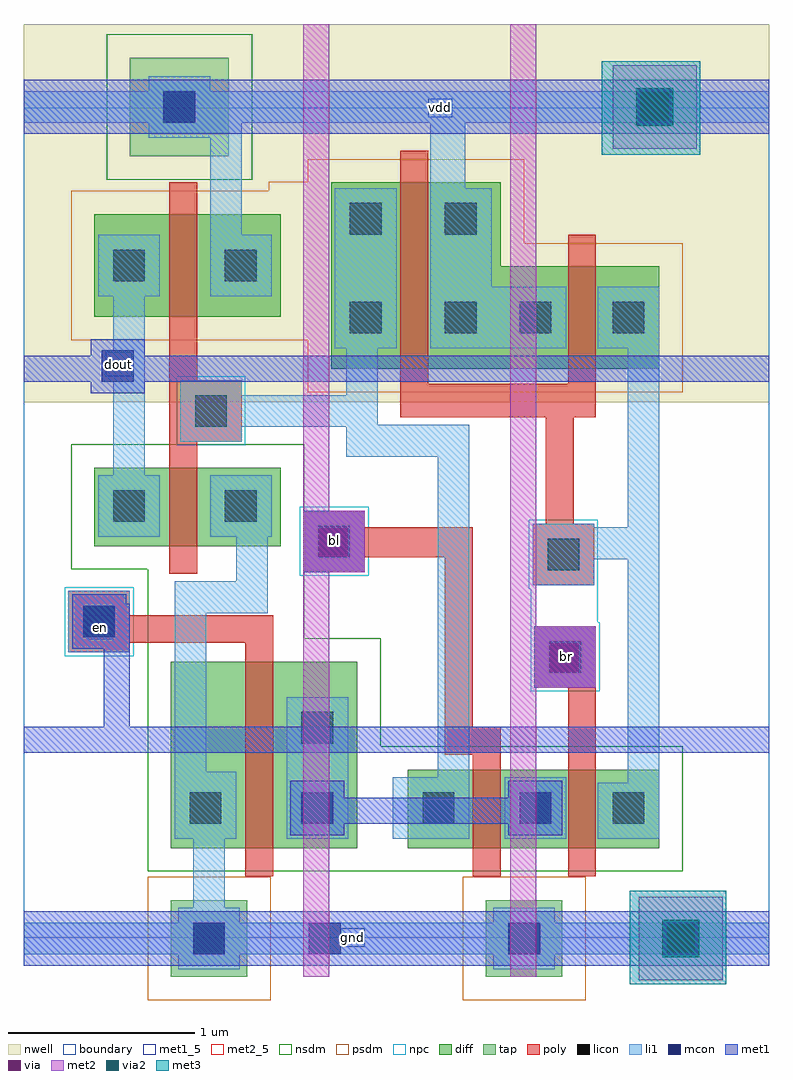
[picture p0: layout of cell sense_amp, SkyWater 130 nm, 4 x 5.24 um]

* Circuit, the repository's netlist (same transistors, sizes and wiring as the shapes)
* NGSPICE file created from sense_amp.ext - technology: sky130A

.subckt sense_amp bl br dout en vdd gnd
X0 a_47_208# bl a_8_72# gnd sky130_fd_pr__nfet_01v8 ad=1.428e+11p pd=1.52e+06u as=6.012e+11p ps=4.46e+06u w=420000u l=150000u
X1 a_47_208# a_152_291# vdd vdd sky130_fd_pr__pfet_01v8 ad=3.7e+11p pd=2.74e+06u as=8.355e+11p ps=5.5e+06u w=1e+06u l=150000u
X2 vdd a_152_291# a_152_291# vdd sky130_fd_pr__pfet_01v8 ad=0p pd=0u as=1.87e+11p ps=1.78e+06u w=550000u l=150000u
X3 vdd a_47_208# dout vdd sky130_fd_pr__pfet_01v8 ad=0p pd=0u as=2.2e+11p ps=1.9e+06u w=550000u l=150000u
X4 gnd a_47_208# dout gnd sky130_fd_pr__nfet_01v8 ad=5.89e+11p pd=4.54e+06u as=1.68e+11p ps=1.64e+06u w=420000u l=150000u
X5 gnd en a_8_72# gnd sky130_fd_pr__nfet_01v8 ad=0p pd=0u as=0p ps=0u w=1e+06u l=150000u
X6 a_8_72# br a_152_291# gnd sky130_fd_pr__nfet_01v8 ad=0p pd=0u as=1.47e+11p ps=1.54e+06u w=420000u l=150000u
.ends

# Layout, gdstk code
import gdstk
lib = gdstk.Library(unit=1e-6, precision=1e-09)
def R(c, l, rs):  # rectangles x0, y0, x1, y1
    for r in rs: c.add(gdstk.rectangle(r[:2], r[2:], *l))
nwell = (64, 20)
diff = (65, 20)
tap = (65, 44)
poly = (66, 20)
licon = (66, 44)
li1 = (67, 20)
mcon = (67, 44)
met1_5 = (68, 5)
met1 = (68, 20)
via = (68, 44)
met2_5 = (69, 5)
met2 = (69, 20)
via2 = (69, 44)
met3 = (70, 20)
nsdm = (93, 44)
psdm = (94, 20)
npc = (95, 20)
boundary = (235, 4)

sense_amp = lib.new_cell('sense_amp')
R(sense_amp, nwell, [(0,2.87,4,4.9)])
R(sense_amp, diff, [(0.79,0.48,1.79,1.48), (2.06,0.48,3.41,0.9), (0.38,2.1,1.38,2.52), (1.65,3.05,3.41,3.6), (0.38,3.33,1.38,3.88), (1.65,3.6,2.56,4.05)])
R(sense_amp, tap, [(0.79,-0.21,1.2,0.2), (2.48,-0.21,2.89,0.2), (0.57,4.19,1.1,4.72)])
R(sense_amp, poly, [(1.19,0.33,1.34,1.58), (2.41,0.33,2.56,0.98), (2.92,0.33,3.07,1.34), (2.26,0.98,2.56,1.13), (2.26,1.13,2.41,2.04), (2.74,1.34,3.07,1.67), (0.24,1.53,0.57,1.58), (0.24,1.58,1.34,1.73), (0.24,1.73,0.57,1.86), (2.73,1.89,3.06,2.22), (0.78,1.95,0.93,2.66), (1.5,1.96,1.83,2.04), (1.5,2.04,2.41,2.2), (1.5,2.2,1.83,2.29), (2.8,2.22,2.95,2.79), (0.78,2.66,1.17,2.99), (2.02,2.79,3.07,2.97), (2.02,2.97,2.17,4.22), (2.92,2.97,3.07,3.77), (0.78,2.99,0.93,4.05)])
R(sense_amp, licon, [(0.91,-0.09,1.08,0.08), (2.6,-0.09,2.77,0.08), (0.89,0.61,1.06,0.78), (1.49,0.61,1.66,0.78), (2.14,0.61,2.31,0.78), (2.66,0.61,2.83,0.78), (3.16,0.61,3.33,0.78), (1.49,1.04,1.66,1.21), (2.82,1.42,2.99,1.59), (0.32,1.61,0.49,1.78), (2.81,1.97,2.98,2.14), (1.58,2.04,1.75,2.21), (0.48,2.23,0.65,2.4), (1.08,2.23,1.25,2.4), (0.92,2.74,1.09,2.91), (1.75,3.24,1.92,3.41), (2.26,3.24,2.43,3.41), (2.66,3.24,2.83,3.41), (3.16,3.24,3.33,3.41), (0.48,3.52,0.65,3.69), (1.08,3.52,1.25,3.69), (1.75,3.77,1.92,3.94), (2.26,3.77,2.43,3.94), (0.75,4.37,0.92,4.54)])
R(sense_amp, li1, [(0.83,-0.17,1.16,-0.09), (2.52,-0.17,2.85,-0.09), (0,-0.09,4,0.08), (0.83,0.08,1.16,0.16), (2.52,0.08,2.85,0.16), (0.91,0.16,1.08,0.53), (0.81,0.53,1.14,0.89), (1.41,0.53,1.74,1.29), (1.98,0.53,2.39,0.86), (2.58,0.53,2.91,0.86), (3.08,0.53,3.41,0.83), (3.24,0.83,3.41,2.03), (2.22,0.86,2.39,2.58), (0.81,0.89,0.98,1.74), (2.74,1.34,3.07,1.67), (0.24,1.53,0.57,1.86), (0.81,1.74,1.31,1.91), (2.73,1.89,3.06,2.03), (1.14,1.91,1.31,2.15), (1.5,1.96,1.83,2.29), (2.73,2.03,3.41,2.2), (0.4,2.15,0.73,2.48), (1,2.15,1.33,2.48), (2.73,2.2,3.06,2.22), (3.24,2.2,3.41,3.16), (0.48,2.48,0.65,2.98), (1.73,2.58,2.39,2.74), (0.84,2.66,1.17,2.74), (0.84,2.74,2.39,2.75), (0.84,2.75,1.9,2.91), (0.84,2.91,1.17,2.99), (1.73,2.91,1.9,3.16), (0.42,2.98,0.65,3.15), (0.48,3.15,0.65,3.44), (1.67,3.16,2,4.02), (2.18,3.16,2.91,3.49), (3.08,3.16,3.41,3.49), (0.4,3.44,0.73,3.77), (1,3.44,1.33,3.77), (2.18,3.49,2.51,4.02), (1,3.77,1.17,4.29), (2.18,4.02,2.37,4.37), (0.67,4.29,1.17,4.37), (0,4.37,4,4.54), (0.67,4.54,1,4.62)])
R(sense_amp, mcon, [(0.91,-0.09,1.08,0.08), (1.53,-0.09,1.7,0.08), (2.6,-0.09,2.77,0.08), (3.45,-0.09,3.62,0.08), (1.49,0.61,1.66,0.78), (2.66,0.61,2.83,0.78), (2.82,1.42,2.99,1.59), (0.32,1.61,0.49,1.78), (1.58,2.04,1.75,2.21), (0.42,2.98,0.59,3.15), (0.75,4.37,0.92,4.54), (3.3,4.37,3.47,4.54)])
R(sense_amp, met1_5, [(1.7,-0.05,1.83,0.05), (0.34,1.6,0.48,1.73), (0.44,3.01,0.58,3.14), (2.17,4.4,2.3,4.5)])
R(sense_amp, met1, [(0,-0.15,4,0.14), (1.43,0.55,1.72,0.61), (2.6,0.55,2.89,0.61), (1.43,0.61,2.89,0.75), (1.43,0.75,1.72,0.84), (2.6,0.75,2.89,0.84), (0,0.99,4,1.13), (0.43,1.13,0.57,1.55), (2.74,1.34,3.07,1.67), (0.26,1.55,0.57,1.79), (0.26,1.79,0.55,1.84), (1.5,1.96,1.83,2.29), (0.36,2.92,0.65,2.98), (0,2.98,4,3.12), (0.36,3.12,0.65,3.21), (0,4.31,4,4.6)])
R(sense_amp, via, [(3.45,-0.08,3.6,0.07), (2.825,1.425,2.975,1.575), (1.585,2.045,1.735,2.195), (3.31,4.38,3.46,4.53)])
R(sense_amp, met2_5, [(2.85,1.44,2.97,1.57), (1.61,2.07,1.73,2.19)])
R(sense_amp, met2, [(3.3,-0.23,3.75,0.22), (1.5,-0.21,1.64,1.96), (2.61,-0.21,2.75,1.34), (2.61,1.34,3.07,1.67), (2.61,1.67,2.75,4.9), (1.5,1.96,1.83,2.29), (1.5,2.29,1.64,4.9), (3.16,4.23,3.61,4.68)])
R(sense_amp, via2, [(3.425,-0.105,3.625,0.095), (3.285,4.355,3.485,4.555)])
R(sense_amp, met3, [(3.25,-0.25,3.77,0.25), (3.1,4.2,3.63,4.7)])
R(sense_amp, nsdm, [(0.665,0.355,3.535,1.025), (0.665,1.025,1.915,1.605), (0.665,1.605,1.505,1.975), (0.255,1.975,1.505,2.645), (0.445,4.065,1.225,4.845)])
R(sense_amp, psdm, [(0.665,-0.335,1.325,0.325), (2.355,-0.335,3.015,0.325), (1.525,2.925,3.535,3.205), (0.255,3.205,3.535,3.725), (0.255,3.725,2.685,4.005), (1.315,4.005,2.685,4.055), (1.525,4.055,2.685,4.175)])
R(sense_amp, npc, [(2.72,1.32,3.09,1.69), (0.22,1.51,0.59,1.88), (2.72,1.69,3.08,1.87), (2.71,1.87,3.08,2.24), (1.48,1.94,1.85,2.31), (0.82,2.64,1.19,3.01)])
R(sense_amp, boundary, [(0,0,4,4.45)])
sense_amp.add(gdstk.Label('bl', (1.67,2.13), layer=69, texttype=5))
sense_amp.add(gdstk.Label('br', (2.91,1.505), layer=69, texttype=5))
sense_amp.add(gdstk.Label('dout', (0.51,3.075), layer=68, texttype=5))
sense_amp.add(gdstk.Label('en', (0.41,1.665), layer=68, texttype=5))
sense_amp.add(gdstk.Label('vdd', (2.235,4.45), layer=68, texttype=5))
sense_amp.add(gdstk.Label('gnd', (1.765,0), layer=68, texttype=5))

lib.write_gds('sense_amp.gds')
